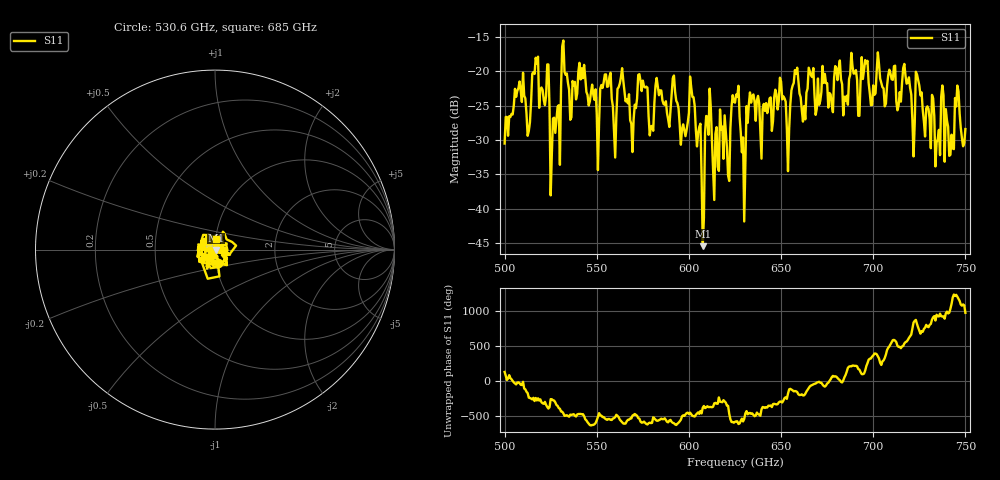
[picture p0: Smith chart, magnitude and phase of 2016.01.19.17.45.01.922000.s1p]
!Created with skrf (http://scikit-rf.org).
# GHz S RI R 50.0
!freq ReS11 ImS11
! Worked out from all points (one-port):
!   401 points, 500 GHz to 750 GHz, reference 50 ohm
!   lowest |S11| = -45.5 dB at 607.5 GHz (marker M1), VSWR 1.01, Z = 50.5 - j0.22 ohm
!   |S11| at or under -10 dB: start of sweep to end of sweep
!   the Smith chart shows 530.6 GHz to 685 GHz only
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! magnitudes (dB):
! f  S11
! 500 GHz  -30.5
! 508.8 GHz  -22.9
! 513.1 GHz  -28.7
! 516.9 GHz  -18.0
! 526.2 GHz  -26.9
! 531.2 GHz  -16.4
! 550 GHz  -26.3
! 556.2 GHz  -22.2
! 559.4 GHz  -28.7
! 562.5 GHz  -21.8
! 569.4 GHz  -31.8
! 573.8 GHz  -21.4
! 579.4 GHz  -28.0
! 593.8 GHz  -24.6
! 601.9 GHz  -23.7
! 607.5 GHz  -45.5
! 610.6 GHz  -29.2
! 615 GHz  -28.1
! 625 GHz  -24.6
! 629.4 GHz  -29.6
! 633.8 GHz  -24.6
! 653.8 GHz  -34.5
! 656.2 GHz  -22.1
! 687.5 GHz  -20.5
! 718.8 GHz  -21.7
! 735 GHz  -29.9
! 745.6 GHz  -22.1
! 750 GHz  -28.4
